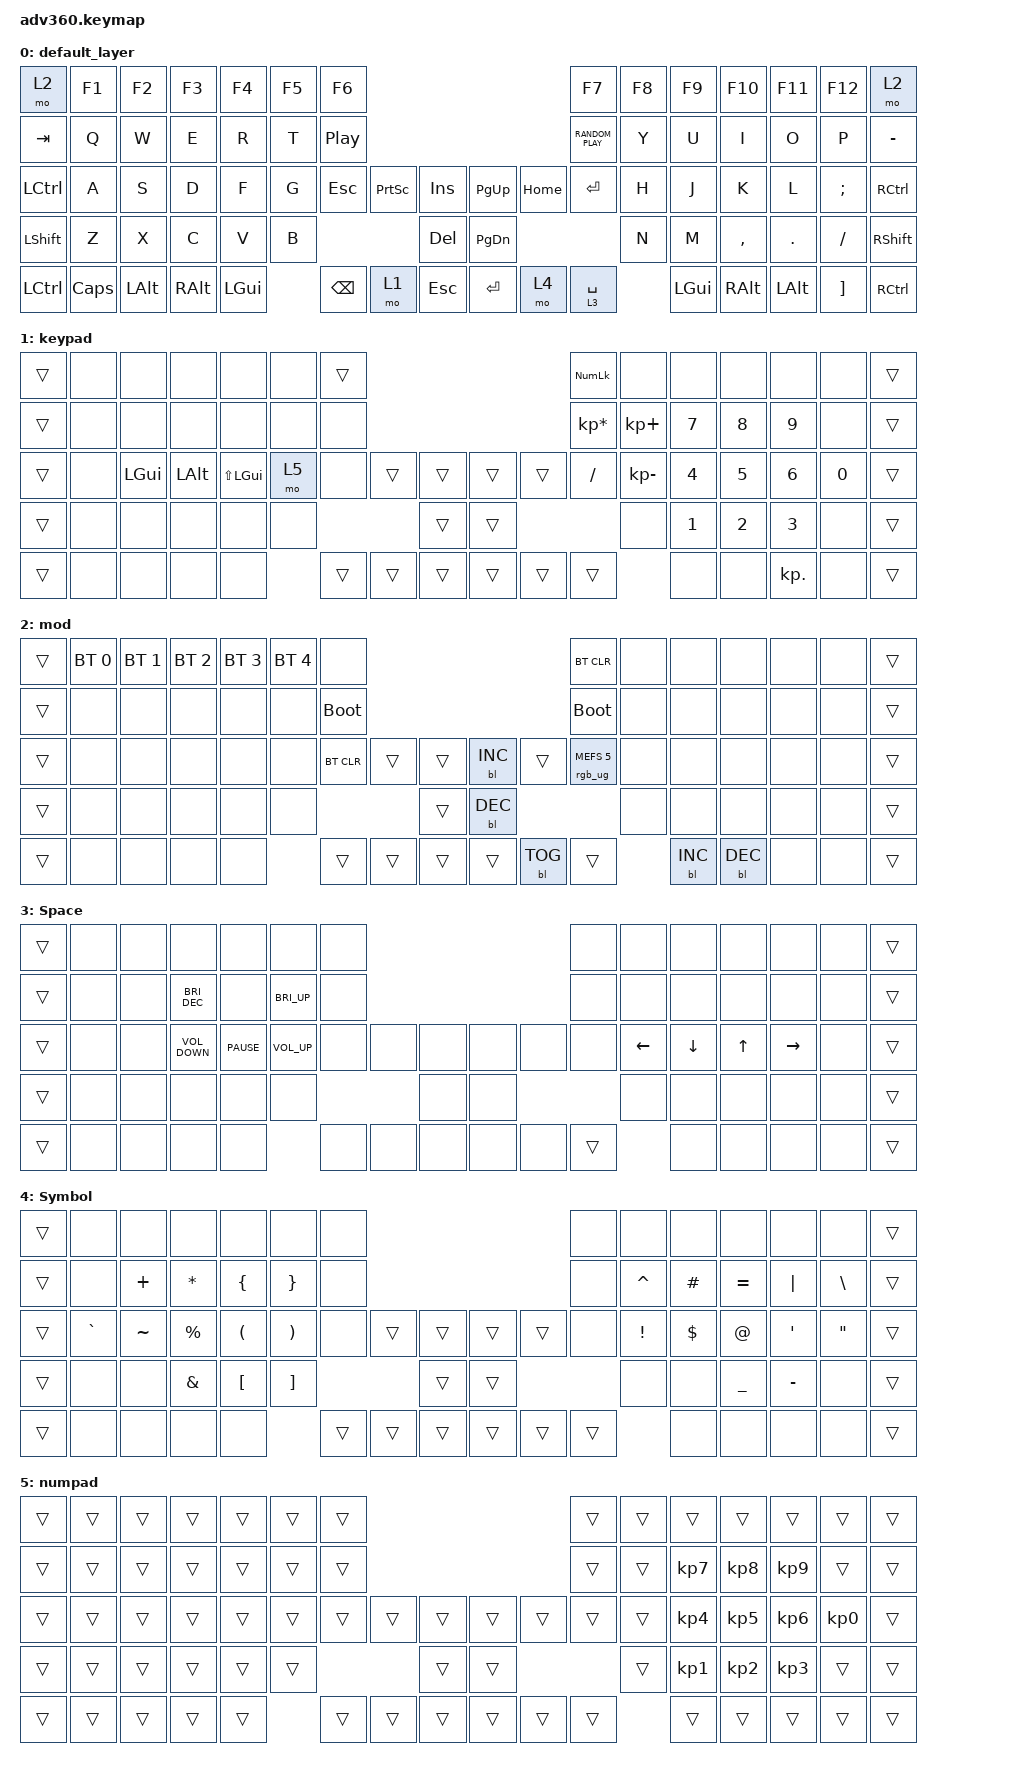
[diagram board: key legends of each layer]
#include <behaviors.dtsi>
#include <dt-bindings/zmk/backlight.h>
#include <dt-bindings/zmk/bt.h>
#include <dt-bindings/zmk/keys.h>
#include <dt-bindings/zmk/rgb.h>

/ {
    behaviors {
        #include "macros.dtsi"
      #include "version.dtsi"
      #ifndef VERSION_MACRO

        macro_ver: macro_ver {
            compatible = "zmk,behavior-macro";
            label = "macro_version";
            #binding-cells = <0>;
            bindings = <&kp RET>;
        };

        #endif

        hm: homerow_mods {
            compatible = "zmk,behavior-hold-tap";
            label = "HOMEROW_MODS";
            #binding-cells = <2>;
            tapping-term-ms = <200>;
            quick_tap_ms = <175>;
            flavor = "tap-preferred";
            bindings = <&kp>, <&kp>;
        };
    };

    macros {
    };

    keymap {
        compatible = "zmk,keymap";

        default_layer {
            bindings = <
&mo 2             &kp F1        &kp F2        &kp F3         &kp F4        &kp F5  &kp F6                                                                      &kp F7             &kp F8  &kp F9        &kp F10        &kp F11       &kp F12   &mo 2
&kp TAB           &kp Q         &kp W         &kp E          &kp R         &kp T   &kp C_PLAY_PAUSE                                                            &kp C_RANDOM_PLAY  &kp Y   &kp U         &kp I          &kp O         &kp P     &kp MINUS
&kp LEFT_CONTROL  &kp A         &kp S         &kp D          &kp F         &kp G   &kp ESCAPE        &kp PRINTSCREEN  &kp INSERT      &kp PAGE_UP    &kp HOME  &kp ENTER          &kp H   &kp J         &kp K          &kp L         &kp SEMI  &kp RIGHT_CONTROL
&kp LSHFT         &kp Z         &kp X         &kp C          &kp V         &kp B                                      &kp DEL         &kp PAGE_DOWN                               &kp N   &kp M         &kp COMMA      &kp DOT       &kp FSLH  &kp RSHFT
&kp LCTRL         &kp CAPSLOCK  &kp LEFT_ALT  &kp RIGHT_ALT  &kp LEFT_GUI          &kp BSPC          &mo 1            &kp ESCAPE      &kp ENTER      &mo 4     &lt 3 SPACE                &kp LEFT_GUI  &kp RIGHT_ALT  &kp LEFT_ALT  &kp RBKT  &kp RIGHT_CONTROL
            >;
        };

        keypad {
            bindings = <
&trans  &none  &none         &none         &none             &none  &trans                                      &kp KP_NUM       &none         &none   &none   &none       &none   &trans
&trans  &none  &none         &none         &none             &none  &none                                       &kp KP_MULTIPLY  &kp KP_PLUS   &kp N7  &kp N8  &kp N9      &none   &trans
&trans  &none  &kp LEFT_GUI  &kp LEFT_ALT  &kp LS(LEFT_GUI)  &mo 5  &none   &trans  &trans      &trans  &trans  &kp SLASH        &kp KP_MINUS  &kp N4  &kp N5  &kp N6      &kp N0  &trans
&trans  &none  &none         &none         &none             &none                  &trans      &trans                           &none         &kp N1  &kp N2  &kp N3      &none   &trans
&trans  &none  &none         &none         &none                    &trans  &trans  &trans      &trans  &trans  &trans                         &none   &none   &kp KP_DOT  &none   &trans
            >;
        };

        mod {
            bindings = <
&trans  &bt BT_SEL 0  &bt BT_SEL 1  &bt BT_SEL 2  &bt BT_SEL 3  &bt BT_SEL 4  &none                                                    &bt BT_CLR              &none  &none       &none       &none  &none  &trans
&trans  &none         &none         &none         &none         &none         &bootloader                                              &bootloader             &none  &none       &none       &none  &none  &trans
&trans  &none         &none         &none         &none         &none         &bt BT_CLR   &trans  &trans      &bl BL_INC  &trans      &rgb_ug RGB_MEFS_CMD 5  &none  &none       &none       &none  &none  &trans
&trans  &none         &none         &none         &none         &none                              &trans      &bl BL_DEC                                      &none  &none       &none       &none  &none  &trans
&trans  &none         &none         &none         &none                       &trans       &trans  &trans      &trans      &bl BL_TOG  &trans                         &bl BL_INC  &bl BL_DEC  &none  &none  &trans
            >;
        };

        Space {
            bindings = <
&trans  &none  &none  &none                 &none        &none            &none                                  &none   &none           &none           &none         &none            &none  &trans
&trans  &none  &none  &kp C_BRIGHTNESS_DEC  &none        &kp C_BRI_UP     &none                                  &none   &none           &none           &none         &none            &none  &trans
&trans  &none  &none  &kp C_VOLUME_DOWN     &kp C_PAUSE  &kp C_VOLUME_UP  &none  &none  &none      &none  &none  &none   &kp LEFT_ARROW  &kp DOWN_ARROW  &kp UP_ARROW  &kp RIGHT_ARROW  &none  &trans
&trans  &none  &none  &none                 &none        &none                          &none      &none                 &none           &none           &none         &none            &none  &trans
&trans  &none  &none  &none                 &none                         &none  &none  &none      &none  &none  &trans                  &none           &none         &none            &none  &trans
            >;
        };

        Symbol {
            bindings = <
&trans  &none      &none      &none          &none                 &none                  &none                                       &none   &none            &none       &none        &none             &none              &trans
&trans  &none      &kp PLUS   &kp ASTERISK   &kp LEFT_BRACE        &kp RIGHT_BRACE        &none                                       &none   &kp CARET        &kp HASH    &kp EQUAL    &kp PIPE          &kp BACKSLASH      &trans
&trans  &kp GRAVE  &kp TILDE  &kp PERCENT    &kp LEFT_PARENTHESIS  &kp RIGHT_PARENTHESIS  &none   &trans  &trans      &trans  &trans  &none   &kp EXCLAMATION  &kp DOLLAR  &kp AT_SIGN  &kp SINGLE_QUOTE  &kp DOUBLE_QUOTES  &trans
&trans  &none      &none      &kp AMPERSAND  &kp LEFT_BRACKET      &kp RIGHT_BRACKET                      &trans      &trans                  &none            &none       &kp UNDER    &kp MINUS         &none              &trans
&trans  &none      &none      &none          &none                                        &trans  &trans  &trans      &trans  &trans  &trans                   &none       &none        &none             &none              &trans
            >;
        };

        numpad {
            bindings = <
&trans  &trans  &trans  &trans  &trans  &trans  &trans                                      &trans  &trans  &trans           &trans           &trans           &trans           &trans
&trans  &trans  &trans  &trans  &trans  &trans  &trans                                      &trans  &trans  &kp KP_NUMBER_7  &kp KP_NUMBER_8  &kp KP_NUMBER_9  &trans           &trans
&trans  &trans  &trans  &trans  &trans  &trans  &trans  &trans  &trans      &trans  &trans  &trans  &trans  &kp KP_NUMBER_4  &kp KP_NUMBER_5  &kp KP_NUMBER_6  &kp KP_NUMBER_0  &trans
&trans  &trans  &trans  &trans  &trans  &trans                  &trans      &trans                  &trans  &kp KP_NUMBER_1  &kp KP_NUMBER_2  &kp KP_NUMBER_3  &trans           &trans
&trans  &trans  &trans  &trans  &trans          &trans  &trans  &trans      &trans  &trans  &trans          &trans           &trans           &trans           &trans           &trans
            >;
        };
    };
};
